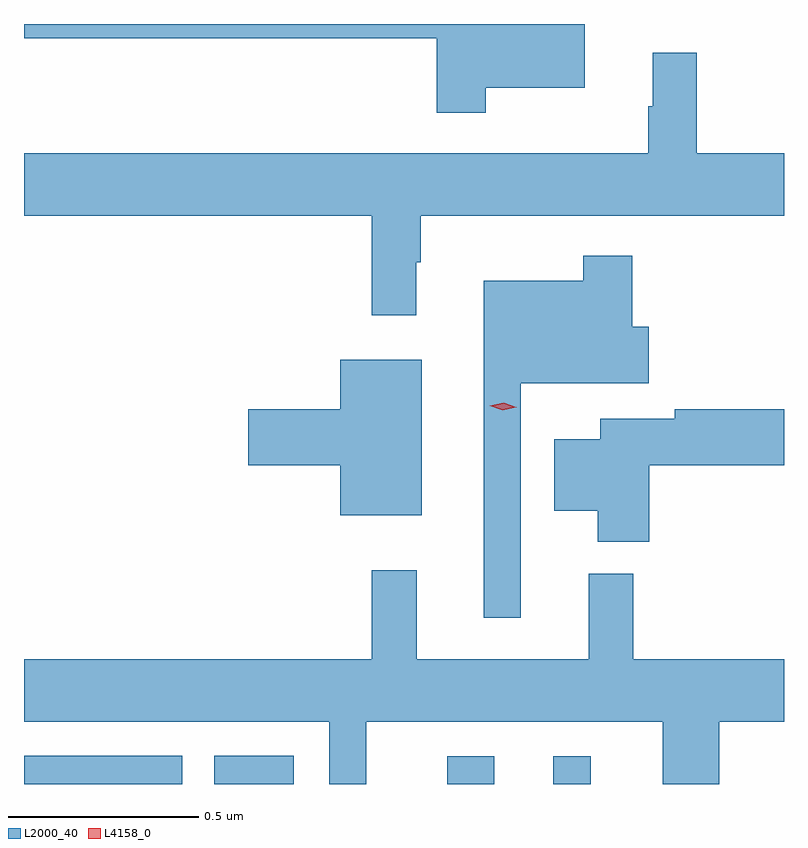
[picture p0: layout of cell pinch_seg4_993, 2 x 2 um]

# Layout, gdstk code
import gdstk
lib = gdstk.Library(unit=1e-6, precision=1e-09)
def R(c, l, rs):  # rectangles x0, y0, x1, y1
    for r in rs: c.add(gdstk.rectangle(r[:2], r[2:], *l))
def P(c, l, *ps):  # polygons
    for p in ps: c.add(gdstk.Polygon(p, *l))
L2000_40 = (2000, 40)
L4158_0 = (4158, 0)

pinch_seg4_993 = lib.new_cell('pinch_seg4_993')
R(pinch_seg4_993, L2000_40, [(878.032,776.676,878.448,776.751), (878.533,776.676,878.742,776.751), (879.146,776.676,879.27,776.749), (879.425,776.676,879.524,776.749)])
P(pinch_seg4_993, L2000_40, [(879.247,778.508),(879.508,778.508),(879.508,778.676),(878.032,778.676),(878.032,778.638),(879.118,778.638),(879.118,778.443),(879.247,778.443)],
  [(879.064,778.049),(879.076,778.049),(879.076,778.172),(880.032,778.172),(880.032,778.336),(879.803,778.336),(879.803,778.6),(879.686,778.6),(879.686,778.46),(879.675,778.46),(879.675,778.336),(878.032,778.336),(878.032,778.172),(878.947,778.172),(878.947,777.909),(879.064,777.909)],
  [(879.339,777.731),(879.676,777.731),(879.676,777.879),(879.632,777.879),(879.632,778.066),(879.504,778.066),(879.504,778),(879.242,778),(879.242,777.114),(879.339,777.114)],
  [(879.079,777.793),(878.864,777.793),(878.864,777.662),(878.622,777.662),(878.622,777.515),(878.864,777.515),(878.864,777.383),(879.079,777.383)],
  [(879.677,777.515),(880.032,777.515),(880.032,777.662),(879.744,777.662),(879.744,777.637),(879.548,777.637),(879.548,777.583),(879.428,777.583),(879.428,777.395),(879.542,777.395),(879.542,777.314),(879.677,777.314)],
  [(878.933,776.84),(879.713,776.84),(879.713,776.676),(879.861,776.676),(879.861,776.84),(880.032,776.84),(880.032,777.004),(879.635,777.004),(879.635,777.229),(879.518,777.229),(879.518,777.004),(879.065,777.004),(879.065,777.238),(878.947,777.238),(878.947,777.004),(878.032,777.004),(878.032,776.84),(878.835,776.84),(878.835,776.676),(878.933,776.676)])
P(pinch_seg4_993, L4158_0, [(879.292,777.659),(879.258,777.672),(879.258,777.672),(879.258,777.672),(879.294,777.679),(879.328,777.667),(879.329,777.667),(879.328,777.667)])

lib.write_gds('pinch_seg4_993.gds')
